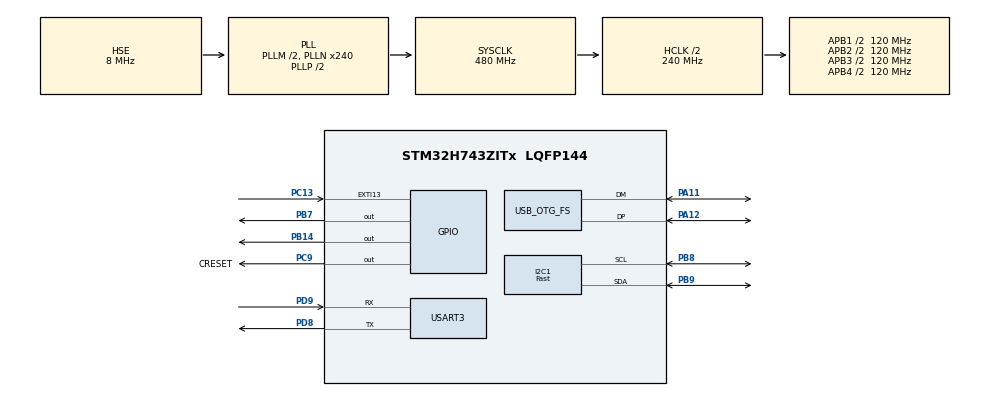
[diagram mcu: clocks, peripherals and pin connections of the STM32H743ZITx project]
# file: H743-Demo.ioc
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CORTEX_M7.default_mode_Activation=1
Dma.Request0=USART3_RX
Dma.Request1=USART3_TX
Dma.USART3_RX.0.Direction=DMA_PERIPH_TO_MEMORY
Dma.USART3_RX.0.EventEnable=DISABLE
Dma.USART3_RX.0.FIFOMode=DMA_FIFOMODE_DISABLE
Dma.USART3_RX.0.Instance=DMA1_Stream0
Dma.USART3_RX.0.MemDataAlignment=DMA_MDATAALIGN_BYTE
Dma.USART3_RX.0.MemInc=DMA_MINC_ENABLE
Dma.USART3_RX.0.Mode=DMA_NORMAL
Dma.USART3_RX.0.PeriphDataAlignment=DMA_PDATAALIGN_BYTE
Dma.USART3_RX.0.PeriphInc=DMA_PINC_DISABLE
Dma.USART3_RX.0.Polarity=HAL_DMAMUX_REQ_GEN_RISING
Dma.USART3_RX.0.Priority=DMA_PRIORITY_LOW
Dma.USART3_RX.0.RequestNumber=1
Dma.USART3_RX.0.SignalID=NONE
Dma.USART3_RX.0.SyncEnable=DISABLE
Dma.USART3_RX.0.SyncPolarity=HAL_DMAMUX_SYNC_NO_EVENT
Dma.USART3_RX.0.SyncRequestNumber=1
Dma.USART3_RX.0.SyncSignalID=NONE
Dma.USART3_TX.1.Direction=DMA_MEMORY_TO_PERIPH
Dma.USART3_TX.1.EventEnable=DISABLE
Dma.USART3_TX.1.FIFOMode=DMA_FIFOMODE_DISABLE
Dma.USART3_TX.1.Instance=DMA1_Stream1
Dma.USART3_TX.1.MemDataAlignment=DMA_MDATAALIGN_BYTE
Dma.USART3_TX.1.MemInc=DMA_MINC_ENABLE
Dma.USART3_TX.1.Mode=DMA_NORMAL
Dma.USART3_TX.1.PeriphDataAlignment=DMA_PDATAALIGN_BYTE
Dma.USART3_TX.1.PeriphInc=DMA_PINC_DISABLE
Dma.USART3_TX.1.Polarity=HAL_DMAMUX_REQ_GEN_RISING
Dma.USART3_TX.1.Priority=DMA_PRIORITY_LOW
Dma.USART3_TX.1.RequestNumber=1
Dma.USART3_TX.1.SignalID=NONE
Dma.USART3_TX.1.SyncEnable=DISABLE
Dma.USART3_TX.1.SyncPolarity=HAL_DMAMUX_SYNC_NO_EVENT
Dma.USART3_TX.1.SyncRequestNumber=1
Dma.USART3_TX.1.SyncSignalID=NONE
I2C1.I2C_Speed_Mode=I2C_Fast
I2C1.Timing=0x00B03FDB
Mcu.Family=STM32H7
Mcu.Name=STM32H743ZITx
Mcu.Package=LQFP144
NUCLEO-H743ZI.BUTTON=1
NUCLEO-H743ZI.LD1=true
NUCLEO-H743ZI.LD2=true
NUCLEO-H743ZI.LD3=true
NUCLEO-H743ZI.VCP=false
NVIC.DMA1_Stream0_IRQn=true\:0\:0\:false\:false\:true\:false\:true\:true
NVIC.DMA1_Stream1_IRQn=true\:0\:0\:false\:false\:true\:false\:true\:true
NVIC.EXTI15_10_IRQn=true\:0\:0\:false\:false\:true\:false\:true\:true
NVIC.I2C1_ER_IRQn=true\:0\:0\:false\:false\:true\:true\:true\:true
NVIC.I2C1_EV_IRQn=true\:0\:0\:false\:false\:true\:true\:true\:true
NVIC.OTG_FS_IRQn=true\:0\:0\:false\:false\:true\:true\:true\:true
NVIC.PriorityGroup=NVIC_PRIORITYGROUP_4
NVIC.TIM15_IRQn=true\:15\:0\:false\:false\:true\:false\:true\:true
NVIC.TIM17_IRQn=true\:0\:0\:false\:false\:true\:true\:true\:true
NVIC.TIM8_BRK_TIM12_IRQn=true\:0\:0\:false\:false\:true\:true\:true\:true
NVIC.TimeBase=TIM15_IRQn
NVIC.TimeBaseIP=TIM15
NVIC.USART3_IRQn=true\:0\:0\:false\:false\:true\:true\:true\:true
PA11.Mode=Device_Only
PA11.Signal=USB_OTG_FS_DM
PA12.Mode=Device_Only
PA12.Signal=USB_OTG_FS_DP
PA13\ (JTMS/SWDIO).GPIO_Label=TMS
PA13\ (JTMS/SWDIO).Mode=Serial_Wire
PA13\ (JTMS/SWDIO).Signal=DEBUG_JTMS-SWDIO
PA14\ (JTCK/SWCLK).GPIO_Label=TCK
PA14\ (JTCK/SWCLK).Mode=Serial_Wire
PA14\ (JTCK/SWCLK).Signal=DEBUG_JTCK-SWCLK
PB14.Signal=GPIO_Output
PB7.Signal=GPIO_Output
PB8.Mode=I2C
PB8.Signal=I2C1_SCL
PB9.Mode=I2C
PB9.Signal=I2C1_SDA
PC13.Signal=GPXTI13
PC14-OSC32_IN\ (OSC32_IN).Signal=RCC_OSC32_IN
PC15-OSC32_OUT\ (OSC32_OUT).Signal=RCC_OSC32_OUT
PC7.Mode=External_Trigger_bidirectional
PC7.Signal=DEBUG_TRGIO
PC9.GPIO_Label=CRESET
PC9.Signal=GPIO_Output
PD8.Mode=Asynchronous
PD8.Signal=USART3_TX
PD9.Mode=Asynchronous
PD9.Signal=USART3_RX
PH0-OSC_IN\ (PH0).Mode=HSE-External-Clock-Source
PH0-OSC_IN\ (PH0).Signal=RCC_OSC_IN
ProjectManager.HeapSize=0x400
ProjectManager.StackSize=0x800
ProjectManager.TargetToolchain=STM32CubeIDE
RCC.48MHZClocksFreq_Value=24000000
RCC.ADCFreq_Value=480000000
RCC.AHBFreq_Value=216000000
RCC.APB1CLKDivider=RCC_HCLK_DIV4
RCC.APB1Freq_Value=120000000
RCC.APB1TimFreq_Value=108000000
RCC.APB2CLKDivider=RCC_HCLK_DIV2
RCC.APB2Freq_Value=120000000
RCC.APB2TimFreq_Value=216000000
RCC.APB3Freq_Value=120000000
RCC.APB4Freq_Value=120000000
RCC.CortexFreq_Value=480000000
RCC.D1PPRE=RCC_APB3_DIV2
RCC.D2PPRE1=RCC_APB1_DIV2
RCC.D2PPRE2=RCC_APB2_DIV2
RCC.D3PPRE=RCC_APB4_DIV2
RCC.DIVM1=2
RCC.DIVM2=2
RCC.DIVM3=2
RCC.DIVN1=240
RCC.DIVN2=240
RCC.DIVN3=240
RCC.DIVQ1=4
RCC.DIVQ3=20
RCC.HCLKFreq_Value=240000000
RCC.HPRE=RCC_HCLK_DIV2
RCC.HSE_VALUE=8000000
RCC.HSI_VALUE=64000000
RCC.PLLM=25
RCC.PLLMUL=RCC_PLL_MUL9
RCC.PLLN=432
RCC.PLLQ=9
RCC.PLLSourceVirtual=RCC_PLLSOURCE_HSE
RCC.PRESCALERUSB=RCC_USBCLKSOURCE_PLL_DIV1_5
RCC.PWR_Regulator_Voltage_Scale=PWR_REGULATOR_VOLTAGE_SCALE0
RCC.SYSCLKFreq_VALUE=480000000
RCC.SYSCLKSource=RCC_SYSCLKSOURCE_PLLCLK
RCC.SYSCLKSourceVirtual=RCC_SYSCLKSOURCE_PLLCLK
RCC.USBCLockSelection=RCC_USBCLKSOURCE_PLL3
RCC.USBFreq_Value=48000000
RCC.VCOOutputFreq_Value=432000000
TIM12.Period=250-1
TIM12.Prescaler=24000-1
TIM17.Period=25000
TIM17.Prescaler=240-1
USART3.VirtualMode-Asynchronous=VM_ASYNC
USB_OTG_FS.VirtualMode=Device_Only
VP_CRC_VS_CRC.Mode=CRC_Activate
VP_MEMORYMAP_VS_MEMORYMAP.Mode=CurAppReg
VP_NUCLEO-H743ZI_VS_BSP_COMMON.Mode=COMMON
VP_SYS_VS_tim15.Mode=TIM15
VP_TIM12_VS_ClockSourceINT.Mode=Internal
VP_TIM17_VS_ClockSourceINT.Mode=Enable_Timer
board=NUCLEO-H743ZI

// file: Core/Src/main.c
/* USER CODE BEGIN Header */
/**
  ******************************************************************************
  * @file           : main.c
  * @brief          : Main program body
  ******************************************************************************
  * @attention
  *
  * Copyright (c) 2025 STMicroelectronics.
  * All rights reserved.
  *
  * This software is licensed under terms that can be found in the LICENSE file
  * in the root directory of this software component.
  * If no LICENSE file comes with this software, it is provided AS-IS.
  *
  ******************************************************************************
  */
/* USER CODE END Header */
#include "main.h"

/* USER CODE BEGIN Includes */
#include "logging.h"
#include "crosslink.h"
#include "ICM20948.h"
#include "usb_device.h"
#include "uart_comms.h"
#include "usbd_histo.h"
#include "usbd_imu.h"
#include "usbd_comms.h"

#include <stdio.h>

/* USER CODE END Includes */

CRC_HandleTypeDef hcrc;

I2C_HandleTypeDef hi2c1;

TIM_HandleTypeDef htim12;
TIM_HandleTypeDef htim17;

UART_HandleTypeDef huart3;
DMA_HandleTypeDef hdma_usart3_rx;
DMA_HandleTypeDef hdma_usart3_tx;

/* USER CODE BEGIN PV */
__attribute__((section(".RAM_D1"))) uint8_t bitstream_buffer[MAX_BITSTREAM_SIZE]; // 160KB buffer

extern USBD_HandleTypeDef hUsbDeviceFS;

ICM_Axis3D a;
ICM_Axis3D m;
ICM_Axis3D g;
float t;
char usb_buf[128];
/* USER CODE END PV */

void SystemClock_Config(void);
static void MPU_Config(void);
static void MX_GPIO_Init(void);
static void MX_DMA_Init(void);
static void MX_USART3_UART_Init(void);
static void MX_CRC_Init(void);
static void MX_I2C1_Init(void);
static void MX_TIM12_Init(void);
static void MX_TIM17_Init(void);

/* USER CODE BEGIN 0 */

static void PrintI2CSpeed(I2C_HandleTypeDef *hi2c)
{
  // Assuming the timing is configured in I2C_TIMINGR register
  uint32_t timing = hi2c->Init.Timing;
  uint32_t presc = (timing >> 28) & 0xF;
  uint32_t scll = (timing >> 0) & 0xFF;
  uint32_t sclh = (timing >> 8) & 0xFF;

  // Get the I2C clock source frequency
  uint32_t i2c_clk_freq = HAL_RCC_GetPCLK1Freq();

  // Calculate SCL speed (frequency) in Hz
  uint32_t scl_freq = i2c_clk_freq / ((presc + 1) * (scll + 1 + sclh + 1));

  // Print I2C speed
  printf("I2C Speed: %ld Hz\r\n", scl_freq); // Print the I2C speed in kHz
}

void I2C_scan(I2C_HandleTypeDef * pI2c) {

    // Iterate through all possible 7-bit addresses
    for (uint8_t address = 0x00; address <= 0x7F; address++) {
        HAL_StatusTypeDef status;
        status = HAL_I2C_IsDeviceReady(pI2c, address << 1, 2, 50); // Address shift left by 1 for read/write bit
        if (status == HAL_OK) {
        	printf("%2x ", address);
        }else{
        	printf("-- ");
        }
        if ((address + 1) % 16 == 0)  printf("\r\n");
    }

	printf("\r\n");
	fflush(stdout);

}
/* USER CODE END 0 */

int main(void)
{

  /* MPU Configuration--------------------------------------------------------*/
  MPU_Config();

  /* MCU Configuration--------------------------------------------------------*/

  /* Reset of all peripherals, Initializes the Flash interface and the Systick. */
  HAL_Init();

  /* Configure the system clock */
  SystemClock_Config();

  /* Initialize all configured peripherals */
  MX_GPIO_Init();
  MX_DMA_Init();
  MX_USART3_UART_Init();
  MX_CRC_Init();
  MX_I2C1_Init();
  MX_TIM12_Init();
  MX_TIM17_Init();
  /* USER CODE BEGIN 2 */

  init_dma_logging();

  printf("\033c");
  printf("DUVITECH LLC\r\n");
  PrintI2CSpeed(&hi2c1);
  I2C_scan(&hi2c1);
  HAL_Delay(100);

  if (ICM_WHOAMI() == ICM20948_EXPECTED_ID)
  {
	if(ICM_Init(0,0,0) != HAL_OK){
		printf("Failed to initialize IMU\r\n\n");
	}
	else
	{
		printf("IMU detected\r\n");
	    HAL_Delay(100);
	    ICM_DumpRegisters();
	}
  }
  else
  {
    printf("IMU NOT detected\r\n\n");
  }

  MX_USB_DEVICE_Init();
  /* USER CODE END 2 */

  /* Initialize leds */
  BSP_LED_Init(LED_GREEN);
  BSP_LED_Init(LED_BLUE);
  BSP_LED_Init(LED_RED);

  /* Initialize USER push-button, will be used to trigger an interrupt each time it's pressed.*/
  BSP_PB_Init(BUTTON_USER, BUTTON_MODE_EXTI);

  /* Infinite loop */
  /* USER CODE BEGIN WHILE */
  comms_host_start();
  //HAL_Delay(2000);
  //USBD_COMMS_SetTxBuffer(&hUsbDeviceFS, (uint8_t*)"GEORGE\r\n", 8);
  //USBD_HISTO_SetTxBuffer(&hUsbDeviceFS, (uint8_t*)"HELLO\r\n", 7);
  //USBD_IMU_SetTxBuffer(&hUsbDeviceFS, (uint8_t*)"OLLEH\r\n", 7);

  HAL_TIM_Base_Start_IT(&htim17);
  while (1)
  {

    /* USER CODE END WHILE */

    /* USER CODE BEGIN 3 */
	comms_host_check_received(); // check comms
	HAL_Delay(100);
	BSP_LED_Toggle(LED_BLUE);
	//printf("{\"G\": [%d, %d, %d], \"M\": [%d, %d, %d], \"A\": [%d, %d, %d], \"T\": %d.%02d}\r\n",g.x, g.y, g.z, m.x, m.y, m.z, a.x, a.y, a.z, (int)t, (int)((t - (int)t) * 100.0f));

  }
  /* USER CODE END 3 */
}

void SystemClock_Config(void)
{
  RCC_OscInitTypeDef RCC_OscInitStruct = {0};
  RCC_ClkInitTypeDef RCC_ClkInitStruct = {0};

  /** Supply configuration update enable
  */
  HAL_PWREx_ConfigSupply(PWR_LDO_SUPPLY);

  /** Configure the main internal regulator output voltage
  */
  __HAL_PWR_VOLTAGESCALING_CONFIG(PWR_REGULATOR_VOLTAGE_SCALE0);

  while(!__HAL_PWR_GET_FLAG(PWR_FLAG_VOSRDY)) {}

  /** Initializes the RCC Oscillators according to the specified parameters
  * in the RCC_OscInitTypeDef structure.
  */
  RCC_OscInitStruct.OscillatorType = RCC_OSCILLATORTYPE_HSE;
  RCC_OscInitStruct.HSEState = RCC_HSE_BYPASS;
  RCC_OscInitStruct.PLL.PLLState = RCC_PLL_ON;
  RCC_OscInitStruct.PLL.PLLSource = RCC_PLLSOURCE_HSE;
  RCC_OscInitStruct.PLL.PLLM = 2;
  RCC_OscInitStruct.PLL.PLLN = 240;
  RCC_OscInitStruct.PLL.PLLP = 2;
  RCC_OscInitStruct.PLL.PLLQ = 4;
  RCC_OscInitStruct.PLL.PLLR = 2;
  RCC_OscInitStruct.PLL.PLLRGE = RCC_PLL1VCIRANGE_2;
  RCC_OscInitStruct.PLL.PLLVCOSEL = RCC_PLL1VCOWIDE;
  RCC_OscInitStruct.PLL.PLLFRACN = 0;
  if (HAL_RCC_OscConfig(&RCC_OscInitStruct) != HAL_OK)
  {
    Error_Handler();
  }

  /** Initializes the CPU, AHB and APB buses clocks
  */
  RCC_ClkInitStruct.ClockType = RCC_CLOCKTYPE_HCLK|RCC_CLOCKTYPE_SYSCLK
                              |RCC_CLOCKTYPE_PCLK1|RCC_CLOCKTYPE_PCLK2
                              |RCC_CLOCKTYPE_D3PCLK1|RCC_CLOCKTYPE_D1PCLK1;
  RCC_ClkInitStruct.SYSCLKSource = RCC_SYSCLKSOURCE_PLLCLK;
  RCC_ClkInitStruct.SYSCLKDivider = RCC_SYSCLK_DIV1;
  RCC_ClkInitStruct.AHBCLKDivider = RCC_HCLK_DIV2;
  RCC_ClkInitStruct.APB3CLKDivider = RCC_APB3_DIV2;
  RCC_ClkInitStruct.APB1CLKDivider = RCC_APB1_DIV2;
  RCC_ClkInitStruct.APB2CLKDivider = RCC_APB2_DIV2;
  RCC_ClkInitStruct.APB4CLKDivider = RCC_APB4_DIV2;

  if (HAL_RCC_ClockConfig(&RCC_ClkInitStruct, FLASH_LATENCY_4) != HAL_OK)
  {
    Error_Handler();
  }
}

static void MX_CRC_Init(void)
{

  hcrc.Instance = CRC;
  hcrc.Init.DefaultPolynomialUse = DEFAULT_POLYNOMIAL_ENABLE;
  hcrc.Init.DefaultInitValueUse = DEFAULT_INIT_VALUE_ENABLE;
  hcrc.Init.InputDataInversionMode = CRC_INPUTDATA_INVERSION_NONE;
  hcrc.Init.OutputDataInversionMode = CRC_OUTPUTDATA_INVERSION_DISABLE;
  hcrc.InputDataFormat = CRC_INPUTDATA_FORMAT_BYTES;
  if (HAL_CRC_Init(&hcrc) != HAL_OK)
  {
    Error_Handler();
  }

}

static void MX_I2C1_Init(void)
{

  hi2c1.Instance = I2C1;
  hi2c1.Init.Timing = 0x00B03FDB;
  hi2c1.Init.OwnAddress1 = 0;
  hi2c1.Init.AddressingMode = I2C_ADDRESSINGMODE_7BIT;
  hi2c1.Init.DualAddressMode = I2C_DUALADDRESS_DISABLE;
  hi2c1.Init.OwnAddress2 = 0;
  hi2c1.Init.OwnAddress2Masks = I2C_OA2_NOMASK;
  hi2c1.Init.GeneralCallMode = I2C_GENERALCALL_DISABLE;
  hi2c1.Init.NoStretchMode = I2C_NOSTRETCH_DISABLE;
  if (HAL_I2C_Init(&hi2c1) != HAL_OK)
  {
    Error_Handler();
  }

  /** Configure Analogue filter
  */
  if (HAL_I2CEx_ConfigAnalogFilter(&hi2c1, I2C_ANALOGFILTER_ENABLE) != HAL_OK)
  {
    Error_Handler();
  }

  /** Configure Digital filter
  */
  if (HAL_I2CEx_ConfigDigitalFilter(&hi2c1, 0) != HAL_OK)
  {
    Error_Handler();
  }

}

static void MX_TIM12_Init(void)
{

  TIM_ClockConfigTypeDef sClockSourceConfig = {0};
  TIM_MasterConfigTypeDef sMasterConfig = {0};

  htim12.Instance = TIM12;
  htim12.Init.Prescaler = 24000-1;
  htim12.Init.CounterMode = TIM_COUNTERMODE_UP;
  htim12.Init.Period = 250-1;
  htim12.Init.ClockDivision = TIM_CLOCKDIVISION_DIV1;
  htim12.Init.AutoReloadPreload = TIM_AUTORELOAD_PRELOAD_DISABLE;
  if (HAL_TIM_Base_Init(&htim12) != HAL_OK)
  {
    Error_Handler();
  }
  sClockSourceConfig.ClockSource = TIM_CLOCKSOURCE_INTERNAL;
  if (HAL_TIM_ConfigClockSource(&htim12, &sClockSourceConfig) != HAL_OK)
  {
    Error_Handler();
  }
  sMasterConfig.MasterOutputTrigger = TIM_TRGO_RESET;
  sMasterConfig.MasterSlaveMode = TIM_MASTERSLAVEMODE_DISABLE;
  if (HAL_TIMEx_MasterConfigSynchronization(&htim12, &sMasterConfig) != HAL_OK)
  {
    Error_Handler();
  }

}

static void MX_TIM17_Init(void)
{

  htim17.Instance = TIM17;
  htim17.Init.Prescaler = 240-1;
  htim17.Init.CounterMode = TIM_COUNTERMODE_UP;
  htim17.Init.Period = 25000;
  htim17.Init.ClockDivision = TIM_CLOCKDIVISION_DIV1;
  htim17.Init.RepetitionCounter = 0;
  htim17.Init.AutoReloadPreload = TIM_AUTORELOAD_PRELOAD_DISABLE;
  if (HAL_TIM_Base_Init(&htim17) != HAL_OK)
  {
    Error_Handler();
  }

}

static void MX_USART3_UART_Init(void)
{

  huart3.Instance = USART3;
  huart3.Init.BaudRate = 115200;
  huart3.Init.WordLength = UART_WORDLENGTH_8B;
  huart3.Init.StopBits = UART_STOPBITS_1;
  huart3.Init.Parity = UART_PARITY_NONE;
  huart3.Init.Mode = UART_MODE_TX_RX;
  huart3.Init.HwFlowCtl = UART_HWCONTROL_NONE;
  huart3.Init.OverSampling = UART_OVERSAMPLING_16;
  huart3.Init.OneBitSampling = UART_ONE_BIT_SAMPLE_DISABLE;
  huart3.Init.ClockPrescaler = UART_PRESCALER_DIV1;
  huart3.AdvancedInit.AdvFeatureInit = UART_ADVFEATURE_NO_INIT;
  if (HAL_UART_Init(&huart3) != HAL_OK)
  {
    Error_Handler();
  }
  if (HAL_UARTEx_SetTxFifoThreshold(&huart3, UART_TXFIFO_THRESHOLD_1_8) != HAL_OK)
  {
    Error_Handler();
  }
  if (HAL_UARTEx_SetRxFifoThreshold(&huart3, UART_RXFIFO_THRESHOLD_1_8) != HAL_OK)
  {
    Error_Handler();
  }
  if (HAL_UARTEx_DisableFifoMode(&huart3) != HAL_OK)
  {
    Error_Handler();
  }

}

static void MX_DMA_Init(void)
{

  /* DMA controller clock enable */
  __HAL_RCC_DMA1_CLK_ENABLE();

  /* DMA interrupt init */
  /* DMA1_Stream0_IRQn interrupt configuration */
  HAL_NVIC_SetPriority(DMA1_Stream0_IRQn, 0, 0);
  HAL_NVIC_EnableIRQ(DMA1_Stream0_IRQn);
  /* DMA1_Stream1_IRQn interrupt configuration */
  HAL_NVIC_SetPriority(DMA1_Stream1_IRQn, 0, 0);
  HAL_NVIC_EnableIRQ(DMA1_Stream1_IRQn);

}

static void MX_GPIO_Init(void)
{
  GPIO_InitTypeDef GPIO_InitStruct = {0};

  /* GPIO Ports Clock Enable */
  __HAL_RCC_GPIOC_CLK_ENABLE();
  __HAL_RCC_GPIOH_CLK_ENABLE();
  __HAL_RCC_GPIOD_CLK_ENABLE();
  __HAL_RCC_GPIOA_CLK_ENABLE();
  __HAL_RCC_GPIOB_CLK_ENABLE();

  /*Configure GPIO pin Output Level */
  HAL_GPIO_WritePin(CRESET_GPIO_Port, CRESET_Pin, GPIO_PIN_RESET);

  /*Configure GPIO pin : CRESET_Pin */
  GPIO_InitStruct.Pin = CRESET_Pin;
  GPIO_InitStruct.Mode = GPIO_MODE_OUTPUT_PP;
  GPIO_InitStruct.Pull = GPIO_NOPULL;
  GPIO_InitStruct.Speed = GPIO_SPEED_FREQ_LOW;
  HAL_GPIO_Init(CRESET_GPIO_Port, &GPIO_InitStruct);

}

/* USER CODE BEGIN 4 */
void HAL_UART_TxCpltCallback(UART_HandleTypeDef *huart)
{
  if (huart->Instance == USART3)
  {
    logging_UART_TxCpltCallback(huart);
  }
}

/* USER CODE END 4 */

 /* MPU Configuration */

void MPU_Config(void)
{
  MPU_Region_InitTypeDef MPU_InitStruct = {0};

  /* Disables the MPU */
  HAL_MPU_Disable();

  /** Initializes and configures the Region and the memory to be protected
  */
  MPU_InitStruct.Enable = MPU_REGION_ENABLE;
  MPU_InitStruct.Number = MPU_REGION_NUMBER0;
  MPU_InitStruct.BaseAddress = 0x0;
  MPU_InitStruct.Size = MPU_REGION_SIZE_4GB;
  MPU_InitStruct.SubRegionDisable = 0x87;
  MPU_InitStruct.TypeExtField = MPU_TEX_LEVEL0;
  MPU_InitStruct.AccessPermission = MPU_REGION_NO_ACCESS;
  MPU_InitStruct.DisableExec = MPU_INSTRUCTION_ACCESS_DISABLE;
  MPU_InitStruct.IsShareable = MPU_ACCESS_SHAREABLE;
  MPU_InitStruct.IsCacheable = MPU_ACCESS_NOT_CACHEABLE;
  MPU_InitStruct.IsBufferable = MPU_ACCESS_NOT_BUFFERABLE;

  HAL_MPU_ConfigRegion(&MPU_InitStruct);
  /* Enables the MPU */
  HAL_MPU_Enable(MPU_PRIVILEGED_DEFAULT);

}

void HAL_TIM_PeriodElapsedCallback(TIM_HandleTypeDef *htim)
{
  /* USER CODE BEGIN Callback 0 */

  if (htim->Instance == TIM12)
  {
	  USBD_COMMS_Idle_Timer_Handler();
  }

  /* USER CODE END Callback 0 */
  if (htim->Instance == TIM15)
  {
    HAL_IncTick();
  }
  /* USER CODE BEGIN Callback 1 */
  if (htim->Instance == TIM17)
  {
	  // call imu
	  if(ICM_GetAllRawData(&a,&t, &g, &m) != HAL_OK){
		  printf("IMU Read Error\r\n");
	  }else{
		  memset(usb_buf,0,128);
		  int len = snprintf(
		      usb_buf, sizeof(usb_buf),
		      "{\"G\":[%d,%d,%d],\"M\":[%d,%d,%d],\"A\":[%d,%d,%d],\"T\":%d.%02d}\r\n",
		      g.x, g.y, g.z,
		      m.x, m.y, m.z,
		      a.x, a.y, a.z,
			  (int)t, (int)((t - (int)t) * 100.0f)
		  );
		  USBD_IMU_SetTxBuffer(&hUsbDeviceFS, (uint8_t *)usb_buf, len);
	  }
  }

  /* USER CODE END Callback 1 */
}

void Error_Handler(void)
{
  __disable_irq();
  while (1)
  {
  }
}
